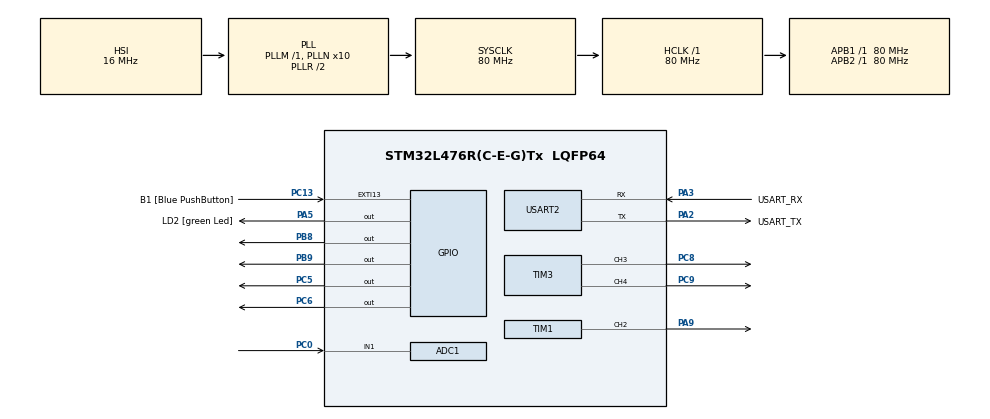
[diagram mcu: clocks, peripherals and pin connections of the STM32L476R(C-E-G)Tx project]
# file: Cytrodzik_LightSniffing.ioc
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ADC1.Channel-0\#ChannelRegularConversion=ADC_CHANNEL_1
ADC1.ContinuousConvMode=ENABLE
ADC1.DMAContinuousRequests=ENABLE
ADC1.NbrOfConversionFlag=1
ADC1.OffsetNumber-0\#ChannelRegularConversion=ADC_OFFSET_NONE
ADC1.Rank-0\#ChannelRegularConversion=1
ADC1.SamplingTime-0\#ChannelRegularConversion=ADC_SAMPLETIME_640CYCLES_5
ADC1.master=1
Dma.ADC1.0.Direction=DMA_PERIPH_TO_MEMORY
Dma.ADC1.0.Instance=DMA1_Channel1
Dma.ADC1.0.MemDataAlignment=DMA_MDATAALIGN_HALFWORD
Dma.ADC1.0.MemInc=DMA_MINC_ENABLE
Dma.ADC1.0.Mode=DMA_CIRCULAR
Dma.ADC1.0.PeriphDataAlignment=DMA_PDATAALIGN_HALFWORD
Dma.ADC1.0.PeriphInc=DMA_PINC_DISABLE
Dma.ADC1.0.Priority=DMA_PRIORITY_LOW
Dma.Request0=ADC1
Mcu.Family=STM32L4
Mcu.Name=STM32L476R(C-E-G)Tx
Mcu.Package=LQFP64
NVIC.DMA1_Channel1_IRQn=true\:0\:0\:false\:false\:true\:false\:true
NVIC.PriorityGroup=NVIC_PRIORITYGROUP_4
PA13\ (JTMS-SWDIO).GPIO_Label=TMS
PA13\ (JTMS-SWDIO).Mode=Serial_Wire
PA13\ (JTMS-SWDIO).Signal=SYS_JTMS-SWDIO
PA14\ (JTCK-SWCLK).GPIO_Label=TCK
PA14\ (JTCK-SWCLK).Mode=Serial_Wire
PA14\ (JTCK-SWCLK).Signal=SYS_JTCK-SWCLK
PA2.GPIO_Label=USART_TX
PA2.GPIO_Mode=GPIO_MODE_AF_PP
PA2.GPIO_PuPd=GPIO_NOPULL
PA2.GPIO_Speed=GPIO_SPEED_FREQ_VERY_HIGH
PA2.Mode=Asynchronous
PA2.Signal=USART2_TX
PA3.GPIO_Label=USART_RX
PA3.GPIO_Mode=GPIO_MODE_AF_PP
PA3.GPIO_PuPd=GPIO_NOPULL
PA3.GPIO_Speed=GPIO_SPEED_FREQ_VERY_HIGH
PA3.Mode=Asynchronous
PA3.Signal=USART2_RX
PA5.GPIO_Label=LD2 [green Led]
PA5.GPIO_ModeDefaultOutputPP=GPIO_MODE_OUTPUT_PP
PA5.GPIO_PuPd=GPIO_NOPULL
PA5.GPIO_Speed=GPIO_SPEED_FREQ_LOW
PA5.Signal=GPIO_Output
PA9.Signal=S_TIM1_CH2
PB3\ (JTDO-TRACESWO).GPIO_Label=SWO
PB3\ (JTDO-TRACESWO).Signal=SYS_JTDO-SWO
PB8.Signal=GPIO_Output
PB9.Signal=GPIO_Output
PC0.Signal=ADCx_IN1
PC13.GPIO_Label=B1 [Blue PushButton]
PC13.GPIO_ModeDefaultEXTI=GPIO_MODE_IT_FALLING
PC13.GPIO_PuPd=GPIO_NOPULL
PC13.Signal=GPXTI13
PC14-OSC32_IN\ (PC14).Mode=LSE-External-Oscillator
PC14-OSC32_IN\ (PC14).Signal=RCC_OSC32_IN
PC15-OSC32_OUT\ (PC15).Mode=LSE-External-Oscillator
PC15-OSC32_OUT\ (PC15).Signal=RCC_OSC32_OUT
PC5.Signal=GPIO_Output
PC6.Signal=GPIO_Output
PC8.Signal=S_TIM3_CH3
PC9.Signal=S_TIM3_CH4
PH0-OSC_IN\ (PH0).Signal=RCC_OSC_IN
PH1-OSC_OUT\ (PH1).Signal=RCC_OSC_OUT
ProjectManager.HeapSize=0x200
ProjectManager.StackSize=0x400
ProjectManager.TargetToolchain=STM32CubeIDE
RCC.ADCFreq_Value=64000000
RCC.AHBFreq_Value=80000000
RCC.APB1Freq_Value=80000000
RCC.APB1TimFreq_Value=80000000
RCC.APB2Freq_Value=80000000
RCC.APB2TimFreq_Value=80000000
RCC.CortexFreq_Value=80000000
RCC.HCLKFreq_Value=80000000
RCC.HSE_VALUE=8000000
RCC.HSI_VALUE=16000000
RCC.MSI_VALUE=4000000
RCC.PLLN=10
RCC.PLLSourceVirtual=RCC_PLLSOURCE_HSI
RCC.PREFETCH_ENABLE=1
RCC.SYSCLKFreq_VALUE=80000000
RCC.SYSCLKSource=RCC_SYSCLKSOURCE_PLLCLK
RCC.USBFreq_Value=64000000
RCC.VCOOutputFreq_Value=160000000
SH.ADCx_IN1.0=ADC1_IN1,IN1-Single-Ended
SH.S_TIM1_CH2.0=TIM1_CH2,PWM Generation2 CH2
SH.S_TIM3_CH3.0=TIM3_CH3,PWM Generation3 CH3
SH.S_TIM3_CH4.0=TIM3_CH4,PWM Generation4 CH4
TIM1.Channel-PWM\ Generation2\ CH2=TIM_CHANNEL_2
TIM1.ClockDivision=TIM_CLOCKDIVISION_DIV1
TIM1.Period=4000
TIM1.Prescaler=400
TIM3.Channel-PWM\ Generation3\ CH3=TIM_CHANNEL_3
TIM3.Channel-PWM\ Generation4\ CH4=TIM_CHANNEL_4
USART2.VirtualMode-Asynchronous=VM_ASYNC
board=NUCLEO-L476RG

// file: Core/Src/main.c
/* USER CODE BEGIN Header */
/**
  ******************************************************************************
  * @file           : main.c
  * @brief          : Main program body
  ******************************************************************************
  * @attention
  *
  * Copyright (c) 2022 STMicroelectronics.
  * All rights reserved.
  *
  * This software is licensed under terms that can be found in the LICENSE file
  * in the root directory of this software component.
  * If no LICENSE file comes with this software, it is provided AS-IS.
  *
  ******************************************************************************
  */
/* USER CODE END Header */
#include "main.h"
#include "adc.h"
#include "dma.h"
#include "tim.h"
#include "usart.h"
#include "gpio.h"

/* USER CODE BEGIN Includes */

#include "motor.h"

/* USER CODE END Includes */

/* USER CODE BEGIN PV */

Motor motors[2];
uint16_t adc_buffer[1] = {0};

#define MOTOR_L			0
#define MOTOR_R			1

#define MOTOR_L_DIR		1.f
#define MOTOR_R_DIR		-1.f

#define SERVO_TIM_COMP_MIN	200
#define SERVO_TIM_COMP_MAX	400

#define LINE_THRESHOLD		400

#define MOTOR_FORWARD_SPEED	0.0005f
#define MOTOR_LINE_KP		0.000001f

uint16_t servo_pos = SERVO_TIM_COMP_MIN;
uint8_t servo_dir = 0;

uint16_t transition_01 = SERVO_TIM_COMP_MIN;
uint16_t transition_10 = SERVO_TIM_COMP_MAX;

uint8_t prev_line = 0;
uint8_t curr_line = 0;

float line_setpoint = 300;
float line_value = 0;
float line_error = 0;

float motor_l_speed = 0.f;
float motor_r_speed = 0.f;

/* USER CODE END PV */

void SystemClock_Config(void);

/* USER CODE BEGIN 0 */

void calc() {
	line_value = (transition_01 + transition_10)/2;

	line_error = line_setpoint - line_value;

	motor_l_speed = MOTOR_FORWARD_SPEED - MOTOR_LINE_KP*line_error;
	motor_r_speed = MOTOR_FORWARD_SPEED + MOTOR_LINE_KP*line_error;

	Motor_SetSpeed(&motors[MOTOR_L], motor_l_speed*MOTOR_L_DIR);
	Motor_SetSpeed(&motors[MOTOR_R], motor_r_speed*MOTOR_R_DIR);
}

/* USER CODE END 0 */

int main(void)
{

  /* MCU Configuration--------------------------------------------------------*/

  /* Reset of all peripherals, Initializes the Flash interface and the Systick. */
  HAL_Init();

  /* Configure the system clock */
  SystemClock_Config();

  /* Initialize all configured peripherals */
  MX_GPIO_Init();
  MX_USART2_UART_Init();
  MX_DMA_Init();
  MX_ADC1_Init();
  MX_TIM3_Init();
  MX_TIM1_Init();
  /* USER CODE BEGIN 2 */

  Motor_Init(&motors[MOTOR_L], &htim3, TIM_CHANNEL_4, GPIOB, GPIO_PIN_8, GPIOB, GPIO_PIN_9);
  Motor_Init(&motors[MOTOR_R], &htim3, TIM_CHANNEL_3, GPIOC, GPIO_PIN_6, GPIOC, GPIO_PIN_5);

  HAL_ADC_Start_DMA(&hadc1, (uint32_t *)adc_buffer, 1);

  HAL_TIM_Base_Start(&htim1);
  HAL_TIM_PWM_Start(&htim1, TIM_CHANNEL_2);

  /* USER CODE END 2 */

  /* Infinite loop */
  /* USER CODE BEGIN WHILE */
  while(1) {

	  if(servo_pos<=SERVO_TIM_COMP_MIN) {
		  servo_dir = 0;

		  /*while(adc_buffer[0]>LINE_THRESHOLD);
		  while(adc_buffer[0]<LINE_THRESHOLD);

		  calc();*/
	  }

	  if(servo_pos>=SERVO_TIM_COMP_MAX) {
		  servo_dir = 1;

		  /*while(adc_buffer[0]>LINE_THRESHOLD);
		  while(adc_buffer[0]<LINE_THRESHOLD);

		  calc();*/
	  }

	  if(servo_dir)
		  servo_pos--;
	  else
		  servo_pos++;

	  servo_pos = (servo_pos>SERVO_TIM_COMP_MAX) ? SERVO_TIM_COMP_MAX : servo_pos;
	  servo_pos = (servo_pos<SERVO_TIM_COMP_MIN) ? SERVO_TIM_COMP_MIN : servo_pos;

	  __HAL_TIM_SET_COMPARE(&htim1, TIM_CHANNEL_2, servo_pos);

	  curr_line = (adc_buffer[0]<LINE_THRESHOLD);

	  HAL_GPIO_WritePin(LD2_GPIO_Port, LD2_Pin, curr_line);

	  if(!prev_line && curr_line) {
		  transition_01 = servo_pos;
		  //transition_10 = servo_pos;

		  calc();
	  } else if(prev_line && !curr_line) {
		  transition_10 = servo_pos;

		  servo_dir = !servo_dir;

		  calc();
	  }

	  //HAL_Delay(1);

	  prev_line = curr_line;

	  uint32_t val = 15000;
	  while(val--);

    /* USER CODE END WHILE */

  }
}

void SystemClock_Config(void)
{
  RCC_OscInitTypeDef RCC_OscInitStruct = {0};
  RCC_ClkInitTypeDef RCC_ClkInitStruct = {0};

  /** Configure the main internal regulator output voltage
  */
  if (HAL_PWREx_ControlVoltageScaling(PWR_REGULATOR_VOLTAGE_SCALE1) != HAL_OK)
  {
    Error_Handler();
  }
  /** Initializes the RCC Oscillators according to the specified parameters
  * in the RCC_OscInitTypeDef structure.
  */
  RCC_OscInitStruct.OscillatorType = RCC_OSCILLATORTYPE_HSI;
  RCC_OscInitStruct.HSIState = RCC_HSI_ON;
  RCC_OscInitStruct.HSICalibrationValue = RCC_HSICALIBRATION_DEFAULT;
  RCC_OscInitStruct.PLL.PLLState = RCC_PLL_ON;
  RCC_OscInitStruct.PLL.PLLSource = RCC_PLLSOURCE_HSI;
  RCC_OscInitStruct.PLL.PLLM = 1;
  RCC_OscInitStruct.PLL.PLLN = 10;
  RCC_OscInitStruct.PLL.PLLP = RCC_PLLP_DIV7;
  RCC_OscInitStruct.PLL.PLLQ = RCC_PLLQ_DIV2;
  RCC_OscInitStruct.PLL.PLLR = RCC_PLLR_DIV2;
  if (HAL_RCC_OscConfig(&RCC_OscInitStruct) != HAL_OK)
  {
    Error_Handler();
  }
  /** Initializes the CPU, AHB and APB buses clocks
  */
  RCC_ClkInitStruct.ClockType = RCC_CLOCKTYPE_HCLK|RCC_CLOCKTYPE_SYSCLK
                              |RCC_CLOCKTYPE_PCLK1|RCC_CLOCKTYPE_PCLK2;
  RCC_ClkInitStruct.SYSCLKSource = RCC_SYSCLKSOURCE_PLLCLK;
  RCC_ClkInitStruct.AHBCLKDivider = RCC_SYSCLK_DIV1;
  RCC_ClkInitStruct.APB1CLKDivider = RCC_HCLK_DIV1;
  RCC_ClkInitStruct.APB2CLKDivider = RCC_HCLK_DIV1;

  if (HAL_RCC_ClockConfig(&RCC_ClkInitStruct, FLASH_LATENCY_4) != HAL_OK)
  {
    Error_Handler();
  }
}

void Error_Handler(void)
{
  __disable_irq();
  while (1)
  {
  }
}
